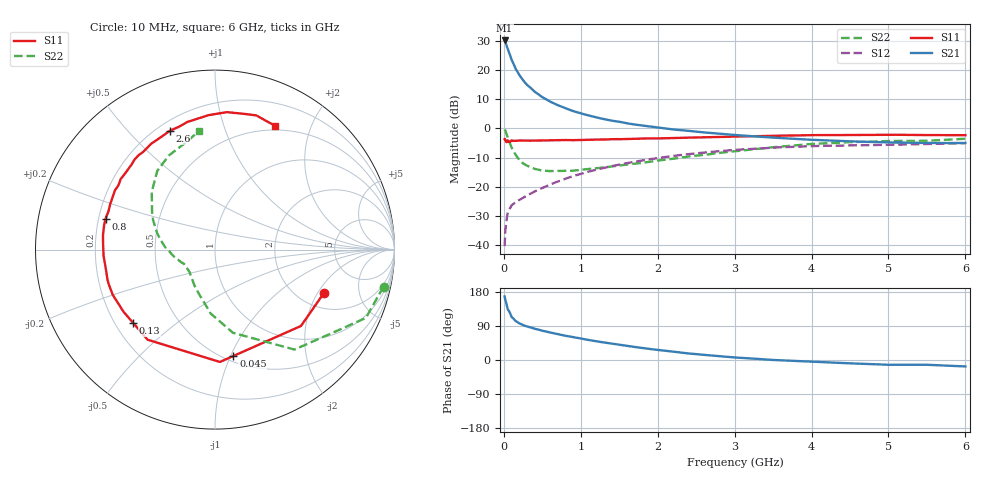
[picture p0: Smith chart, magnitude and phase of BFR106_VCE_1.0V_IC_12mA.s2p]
! Infineon Technologies  Discrete & RF Semiconductors
! BFR106
! VCE =  1.0 V,  IC =  12 mA
! Common Emitter S-Parameters:  Nov 2015
# GHz  S  MA  R  50
!  f  S11  S21  S12  S22
! GHz  MAG  ANG  MAG  ANG  MAG  ANG  MAG  ANG
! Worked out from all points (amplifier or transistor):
!   210 points, 10 MHz to 6 GHz, reference 50 ohm
!   highest |S21| = 30.1 dB at 10 MHz (marker M1)
!   |S21| within 3 dB of that: start of sweep to 53.48 MHz
!   unconditionally stable (mu >= 1): 423.7 MHz to 2.999 GHz; 3.004 GHz to 3.336 GHz; 4.036 GHz to end of sweep
!   at 185 MHz: K = 0.64, MSG = 21.9 dB, |S12| = -24.7 dB
!   at 1.52 GHz: K = 1.10, MAG = 5.3 dB, |S12| = -12.3 dB
!   at 6 GHz: K = 1.03, MAG = -1.0 dB, |S12| = -5.0 dB
!   S11 on the Smith chart (normalised r, x): 10 MHz: 2.72, -2.27; 45 MHz: 0.55, -1.02; 130 MHz: 0.27, -0.36; 800 MHz: 0.23, +0.13; 2.6 GHz: 0.25, +0.66; 6 GHz: 0.45, +1.51
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0.01  0.6539 -21.5  31.99 167.9  0.0097 81.9  0.9616 -12.4
0.02  0.6407 -41.6  30.35 157.9  0.0185 72.1  0.9226 -24.4
0.045  0.6014 -80.2  24.11 138.8  0.0329 55.9  0.7332 -46.0
0.05  0.6266 -87.5  23.28 133.9  0.0359 54.2  0.7116 -51.5
0.1  0.627 -126.8  15.06 113.7  0.0482 43.7  0.4744 -77.8
0.13  0.6123 -138.1  12.37 108.2  0.0521 42.6  0.4003 -86.3
0.15  0.6161 -145.8  10.66 103.1  0.0547 41.9  0.3575 -93.8
0.2  0.623 -156.2  8.252 96.8  0.0596 43.6  0.291 -103.7
0.26  0.622 -164.4  6.433 91.2  0.0663 45.5  0.2475 -114.1
0.3  0.6178 -168.6  5.594 88.4  0.071 47.5  0.2316 -119.4
0.4  0.6219 -176.9  4.259 82.5  0.0834 51.1  0.204 -130.1
0.5  0.6243 177.4  3.43 77.3  0.096 53.8  0.1903 -137.5
0.6  0.6294 172.5  2.886 72.5  0.1098 55.5  0.1867 -142.6
0.8  0.6338 164.2  2.21 64.0  0.1381 56.9  0.1888 -151.6
1.02  0.6374 155.6  1.781 56.0  0.1704 56.8  0.1969 -157.9
1.4  0.6562 143.2  1.36 43.3  0.2263 53.7  0.2234 -168.0
2.02  0.6764 125.9  1.027 26.2  0.3144 45.6  0.2844 175.5
2.6  0.7082 110.8  0.856 13.5  0.3871 36.6  0.3526 159.9
3.1  0.7304 100.3  0.757 5.5  0.4373 28.3  0.4193 146.8
4.1  0.7689 83.7  0.632 -5.4  0.5026 12.7  0.55 124.2
5.1  0.7795 71.9  0.573 -12.6  0.528 0.5  0.6108 107.1
6  0.7676 64.0  0.564 -17.0  0.5597 -8.6  0.6672 97.7
